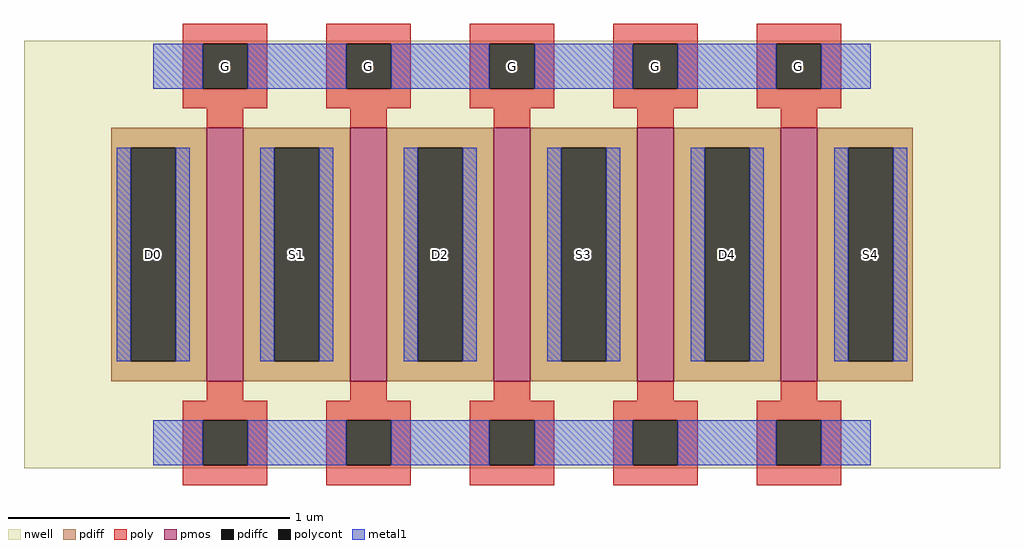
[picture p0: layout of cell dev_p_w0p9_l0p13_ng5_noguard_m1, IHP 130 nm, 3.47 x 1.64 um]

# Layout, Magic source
magic
tech ihp-sg13cmos5l
magscale 1 2
<< nwell >>
rect -347 -152 347 152
<< pmos >>
rect -217 -90 -191 90
rect -115 -90 -89 90
rect -13 -90 13 90
rect 89 -90 115 90
rect 191 -90 217 90
<< pdiff >>
rect -285 76 -217 90
rect -285 -76 -271 76
rect -239 -76 -217 76
rect -285 -90 -217 -76
rect -191 76 -115 90
rect -191 -76 -169 76
rect -137 -76 -115 76
rect -191 -90 -115 -76
rect -89 76 -13 90
rect -89 -76 -67 76
rect -35 -76 -13 76
rect -89 -90 -13 -76
rect 13 76 89 90
rect 13 -76 35 76
rect 67 -76 89 76
rect 13 -90 89 -76
rect 115 76 191 90
rect 115 -76 137 76
rect 169 -76 191 76
rect 115 -90 191 -76
rect 217 76 285 90
rect 217 -76 239 76
rect 271 -76 285 76
rect 217 -90 285 -76
<< pdiffc >>
rect -271 -76 -239 76
rect -169 -76 -137 76
rect -67 -76 -35 76
rect 35 -76 67 76
rect 137 -76 169 76
rect 239 -76 271 76
<< poly >>
rect -234 150 -174 164
rect -234 118 -220 150
rect -188 118 -174 150
rect -234 104 -174 118
rect -132 150 -72 164
rect -132 118 -118 150
rect -86 118 -72 150
rect -132 104 -72 118
rect -30 150 30 164
rect -30 118 -16 150
rect 16 118 30 150
rect -30 104 30 118
rect 72 150 132 164
rect 72 118 86 150
rect 118 118 132 150
rect 72 104 132 118
rect 174 150 234 164
rect 174 118 188 150
rect 220 118 234 150
rect 174 104 234 118
rect -217 90 -191 104
rect -115 90 -89 104
rect -13 90 13 104
rect 89 90 115 104
rect 191 90 217 104
rect -217 -104 -191 -90
rect -115 -104 -89 -90
rect -13 -104 13 -90
rect 89 -104 115 -90
rect 191 -104 217 -90
rect -234 -118 -174 -104
rect -234 -150 -220 -118
rect -188 -150 -174 -118
rect -234 -164 -174 -150
rect -132 -118 -72 -104
rect -132 -150 -118 -118
rect -86 -150 -72 -118
rect -132 -164 -72 -150
rect -30 -118 30 -104
rect -30 -150 -16 -118
rect 16 -150 30 -118
rect -30 -164 30 -150
rect 72 -118 132 -104
rect 72 -150 86 -118
rect 118 -150 132 -118
rect 72 -164 132 -150
rect 174 -118 234 -104
rect 174 -150 188 -118
rect 220 -150 234 -118
rect 174 -164 234 -150
<< polycont >>
rect -220 118 -188 150
rect -118 118 -86 150
rect -16 118 16 150
rect 86 118 118 150
rect 188 118 220 150
rect -220 -150 -188 -118
rect -118 -150 -86 -118
rect -16 -150 16 -118
rect 86 -150 118 -118
rect 188 -150 220 -118
<< metal1 >>
rect -255 118 -220 150
rect -188 118 -118 150
rect -86 118 -16 150
rect 16 118 86 150
rect 118 118 188 150
rect 220 118 255 150
rect -281 -76 -271 76
rect -239 -76 -229 76
rect -179 -76 -169 76
rect -137 -76 -127 76
rect -77 -76 -67 76
rect -35 -76 -25 76
rect 25 -76 35 76
rect 67 -76 77 76
rect 127 -76 137 76
rect 169 -76 179 76
rect 229 -76 239 76
rect 271 -76 281 76
rect -255 -150 -220 -118
rect -188 -150 -118 -118
rect -86 -150 -16 -118
rect 16 -150 86 -118
rect 118 -150 188 -118
rect 220 -150 255 -118
<< labels >>
rlabel pdiffc -255 0 -255 0 0 D0
port 1 nsew
rlabel polycont -204 134 -204 134 0 G
port 2 nsew
rlabel pdiffc -153 0 -153 0 0 S1
port 3 nsew
rlabel polycont -102 134 -102 134 0 G
port 2 nsew
rlabel pdiffc -51 0 -51 0 0 D2
port 4 nsew
rlabel polycont 0 134 0 134 0 G
port 2 nsew
rlabel pdiffc 51 0 51 0 0 S3
port 5 nsew
rlabel polycont 102 134 102 134 0 G
port 2 nsew
rlabel pdiffc 153 0 153 0 0 D4
port 6 nsew
rlabel pdiffc 255 0 255 0 0 S4
port 7 nsew
rlabel polycont 204 134 204 134 0 G
port 2 nsew
<< properties >>
string gencell sg13_lv_pmos
string library sg13cmos5l
string parameters w 0.9 l 0.13 m 1 ng 5 diffcov 100 polycov 100 guard 0 glc 1 grc 1 gtc 1 gbc 1 tbcov 100 rlcov 100 topc 1 botc 1 poverlap 0 doverlap 1 lmin 0.13 wmin 0.15 class mosfet compatible {sg13_lv_pmos sg13_hv_pmos} full_metal 1 conn_gates 1 gate_ring 0 ccols 1 viasrc 0 viadrn 0 viagate 0 viagb 0 viagr 0 viagl 0 viagt 0 doports 1
<< end >>
